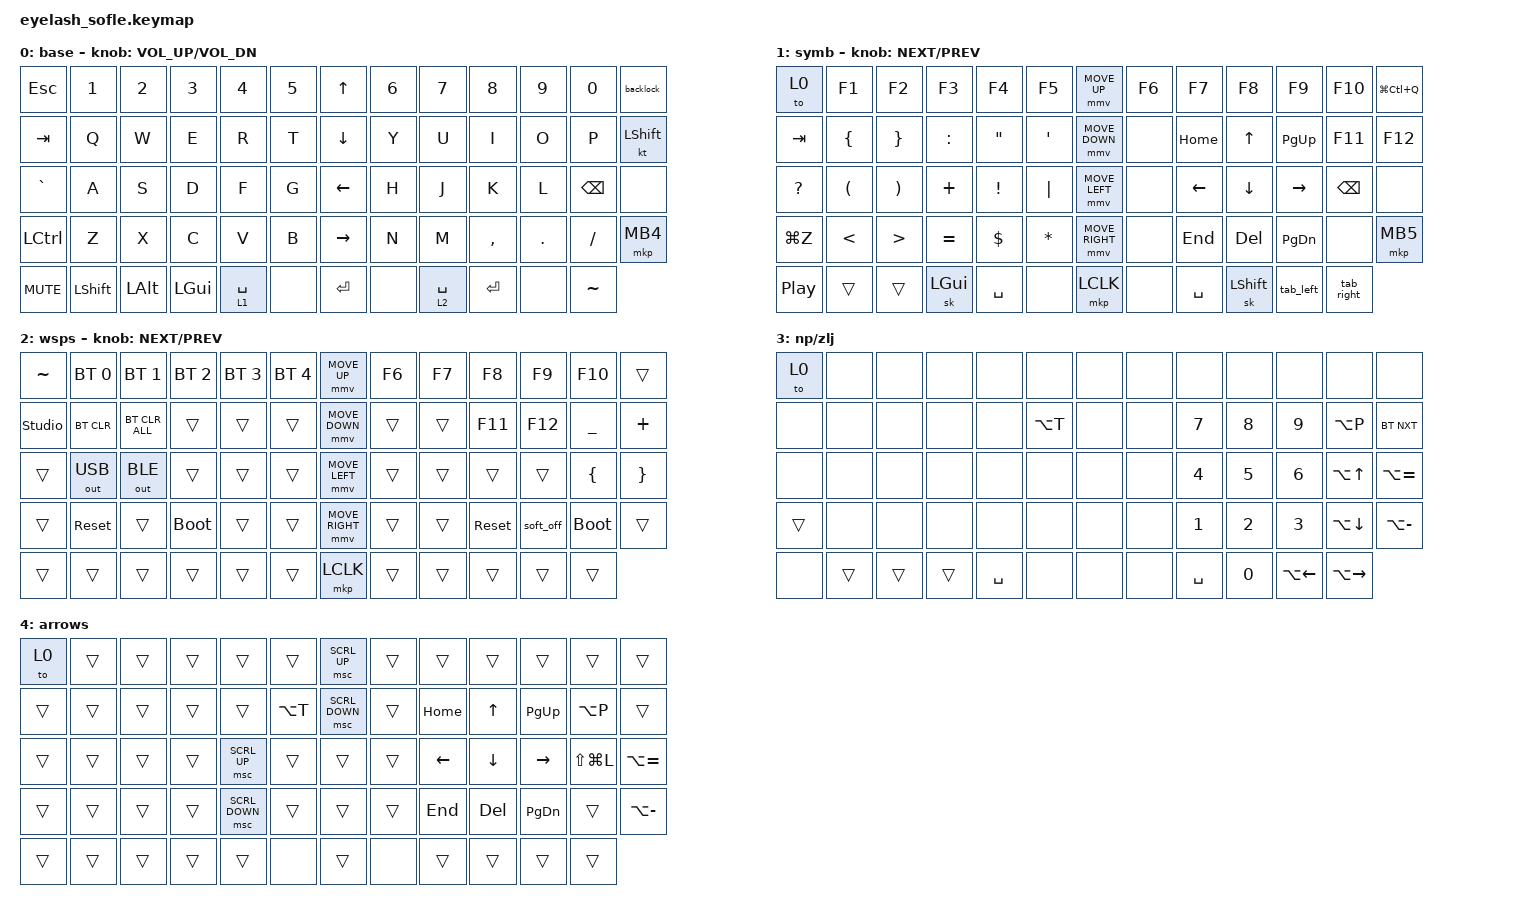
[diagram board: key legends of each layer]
#include <behaviors.dtsi>
#include <dt-bindings/zmk/bt.h>
#include <dt-bindings/zmk/keys.h>
#include <dt-bindings/zmk/rgb.h>

#include <input/processors.dtsi>

/*

   &mmv_input_listener {
       input-processors = <&zip_xy_scaler 2 1>;
   };

   &msc_input_listener {
       input-processors = <&zip_xy_scaler 2 1>;
   };

 */

#define ZMK_MOUSE_DEFAULT_MOVE_VAL 1200  // 600
#define ZMK_MOUSE_DEFAULT_SCRL_VAL 20    // 10


/ {
    behaviors {
        as_ht: autoshift_hold_tap {
            compatible = "zmk,behavior-hold-tap";
            label = "AUTOSHIFT_HOLD_TAP";
            #binding-cells = <2>;
            tapping-term-ms = <450>;
            require-prior-idle-ms = <325>;
            bindings = <&shifted>, <&kp>;

            flavor = "tap-preferred";
        };

        mmv {
            acceleration-exponent = <1>;      // 1
            time-to-max-speed-ms = <900>;    // 40
            delay-ms = <0>;                   // 0
        };

        msc {
            acceleration-exponent = <1>;      // 0
            time-to-max-speed-ms = <400>;      // 500
            delay-ms = <0>;                   //   10
        };

        hm: homerow_mods {
            compatible = "zmk,behavior-hold-tap";
            #binding-cells = <2>;
            tapping-term-ms = <350>;
            quick-tap-ms = <0>;
            flavor = "tap-unless-interrupted";
            bindings = <&kp>, <&kp>;

            label = "homerow_mods";
        };

        td0: tap_dance_0 {
            compatible = "zmk,behavior-tap-dance";
            #binding-cells = <0>;
            tapping-term-ms = <200>;
            bindings = <&none>, <&bt BT_SEL 0>;
        };

        td1: tap_dance_1 {
            compatible = "zmk,behavior-tap-dance";
            #binding-cells = <0>;
            tapping-term-ms = <200>;
            bindings = <&none>, <&bt BT_SEL 1>;
        };

        td2: tap_dance_2 {
            compatible = "zmk,behavior-tap-dance";
            #binding-cells = <0>;
            tapping-term-ms = <200>;
            bindings = <&none>, <&bt BT_SEL 2>;
        };

        td3: tap_dance_3 {
            compatible = "zmk,behavior-tap-dance";
            #binding-cells = <0>;
            tapping-term-ms = <200>;
            bindings = <&none>, <&bt BT_SEL 3>;
        };

        td4: tap_dance_4 {
            compatible = "zmk,behavior-tap-dance";
            #binding-cells = <0>;
            tapping-term-ms = <200>;
            bindings = <&kp RET>, <&bt BT_SEL 4>;
        };

        backlock: backlock {
            compatible = "zmk,behavior-tap-dance";
            label = "BACKLOCK";
            #binding-cells = <0>;
            bindings =
                <&kp BACKSPACE>,
                <&kp BACKSPACE>,
                <&kp LG(LC(Q))>,
                <&none>,
                <&bootloader>;

            tapping-term-ms = <400>;
        };

        gui_raycast: gui_raycast {
            compatible = "zmk,behavior-tap-dance";
            label = "GUI_RAYCAST";
            #binding-cells = <0>;
            bindings = <&kp LEFT_GUI>, <&kp LG(D)>;

            tapping-term-ms = <150>;
        };

        caps_lock_word: caps_lock_word {
            compatible = "zmk,behavior-tap-dance";
            label = "CAPS_LOCK_WORD";
            #binding-cells = <0>;
            bindings = <&kp CAPS>, <&caps_word>;
        };

        bootloader_dance: bootloader_dance {
            compatible = "zmk,behavior-tap-dance";
            label = "BOOTLOADER_DANCE";
            #binding-cells = <0>;
            bindings = <&none>, <&none>, <&bootloader>;
        };
    };

    scroll_encoder: scroll_encoder {
        compatible = "zmk,behavior-sensor-rotate";
        #sensor-binding-cells = <0>;
        bindings = <&msc SCRL_DOWN>, <&msc SCRL_UP>;

        tap-ms = <30>;
    };

    macros {
        arc1: arc1 {
            compatible = "zmk,behavior-macro";
            #binding-cells = <0>;
            bindings =
                <&kp LA(LC(LG(A)))>,
                <&macro_wait_time 200>,
                <&kp LC(NUMBER_1)>;

            label = "ARC1";
        };

        arc2: arc2 {
            compatible = "zmk,behavior-macro";
            #binding-cells = <0>;
            bindings =
                <&kp LA(LC(LG(A)))>,
                <&macro_wait_time 200>,
                <&kp LC(NUMBER_2)>;

            label = "ARC2";
        };

        tab_left: tab_left {
            compatible = "zmk,behavior-macro";
            #binding-cells = <0>;
            bindings = <&kp LC(T)>, <&macro_wait_time 80>, <&kp LEFT_BRACKET>;

            label = "TAB_LEFT";
        };

        tab_right: tab_right {
            compatible = "zmk,behavior-macro";
            #binding-cells = <0>;
            bindings = <&kp LC(T)>, <&macro_wait_time 80>, <&kp RIGHT_BRACKET>;

            label = "TAB_RIGHT";
        };

        unfold: unfold {
            compatible = "zmk,behavior-macro";
            #binding-cells = <0>;
            bindings = <&kp LG(K) &kp LG(LEFT_BRACKET)>;
            label = "UNFOLD";
        };

        fold_all: fold_all {
            compatible = "zmk,behavior-macro";
            #binding-cells = <0>;
            bindings = <&kp LG(K) &kp LG(N0)>;
            label = "FOLD_ALL";
        };

        shifted: macro_shifted_kp {
            #binding-cells = <1>;
            label = "MACRO_SHIFTED_KP";
            compatible = "zmk,behavior-macro-one-param";
            bindings =
                <&macro_press>,
                <&kp LSHFT &macro_param_1to1>,
                <&macro_tap>,
                <&kp MACRO_PLACEHOLDER>,
                <&macro_release>,
                <&kp LSHFT>;
        };

        as: autoshift {
            compatible = "zmk,behavior-macro-one-param";
            #binding-cells = <1>;
            label = "AUTOSHIFT_KP";
            bindings =
                <&macro_press>,
                <&macro_param_1to1 &macro_param_1to2 &as_ht MACRO_PLACEHOLDER MACRO_PLACEHOLDER>,
                <&macro_pause_for_release>,
                <&macro_release>,
                <&macro_param_1to1 &macro_param_1to2 &as_ht MACRO_PLACEHOLDER MACRO_PLACEHOLDER>;
        };

        zz_macro: zz_macro {
            compatible = "zmk,behavior-macro";
            #binding-cells = <0>;
            bindings = <&kp ESCAPE &kp LS(Z) &kp LS(Z)>;
            label = "ZZ_MACRO";
        };

        qexit: qexit {
            compatible = "zmk,behavior-macro";
            #binding-cells = <0>;
            bindings = <&kp ESCAPE &kp Q &kp EXCL &kp RET>;
            label = "QEXIT";
        };
    };

    combos {
        compatible = "zmk,combos";

        bootloader_left {
            bindings = <&bootloader>;
            key-positions = <39 40>;
        };

        tolayer3 {
            bindings = <&mo 3>;
            key-positions = <28 30 29>;
        };

        tolayer4 {
            bindings = <&tog 4>;
            key-positions = <28 30 16>;
        };

        slash {
            bindings = <&kp SLASH>;
            key-positions = <29 17>;
        };

        backslash {
            bindings = <&kp BACKSLASH>;
            key-positions = <16 30>;
        };

        minus {
            bindings = <&kp MINUS>;
            key-positions = <30 29>;
        };

        underscore {
            bindings = <&kp UNDER>;
            key-positions = <43 42>;
        };

        scrollup {
            bindings = <&msc SCRL_UP>;
            timeout-ms = <200>;
            key-positions = <34 18>;
        };

        scrolldown {
            bindings = <&msc SCRL_DOWN>;
            timeout-ms = <200>;
            key-positions = <31 34>;
        };

        tolayer1 {
            bindings = <&to 1>;
            key-positions = <56 57>;
        };

        tolayer2 {
            bindings = <&to 2>;
            key-positions = <60 59>;
        };

        copy {
            bindings = <&kp LG(C)>;
            timeout-ms = <200>;
            key-positions = <34 42>;
        };

        paste {
            bindings = <&kp LG(V)>;
            timeout-ms = <200>;
            key-positions = <34 43>;
        };

        cut {
            bindings = <&kp LG(X)>;
            timeout-ms = <200>;
            key-positions = <34 41>;
        };

        undo {
            bindings = <&kp LG(Z)>;
            timeout-ms = <200>;
            key-positions = <34 40>;
        };

        redo {
            bindings = <&kp LG(LS(Z))>;
            timeout-ms = <200>;
            key-positions = <34 35 40>;
        };

        pipe {
            bindings = <&kp PIPE>;
            key-positions = <44 31>;
        };

        semicolon {
            bindings = <&kp SEMI>;
            key-positions = <31 18>;
        };

        save {
            bindings = <&kp LG(S)>;
            key-positions = <34 28>;
        };

        find {
            bindings = <&kp LG(F)>;
            key-positions = <34 30>;
        };

        findall {
            bindings = <&kp LG(LS(F))>;
            key-positions = <34 30 35>;
        };

        select_all {
            bindings = <&kp LG(LS(L))>;
            key-positions = <34 35 36>;
        };

        foldall_combo {
            bindings = <&fold_all>;
            key-positions = <30 21>;
        };

        unfold_combo {
            bindings = <&unfold>;
            key-positions = <30 22>;
        };

        gui {
            bindings = <&kp LEFT_GUI>;
            key-positions = <47 49>;
        };

        question_mark {
            bindings = <&kp QUESTION>;
            key-positions = <43 29>;
        };

        vscode {
            bindings = <&kp LA(LC(LG(C)))>;
            key-positions = <35 42>;
        };

        slack {
            bindings = <&kp LA(LC(LG(S)))>;
            key-positions = <35 28>;
        };

        arc1 {
            bindings = <&arc1>;
            key-positions = <35 1>;
        };

        arc2 {
            bindings = <&arc2>;
            key-positions = <35 2>;
        };

        arc {
            bindings = <&kp LA(LC(LG(A)))>;
            key-positions = <35 27>;
        };

        rambox {
            bindings = <&kp LA(LC(LG(R)))>;
            key-positions = <35 17>;
        };

        obsidian {
            bindings = <&kp LA(LC(LG(O)))>;
            key-positions = <35 23>;
        };

        bruno {
            bindings = <&kp LA(LC(LG(B)))>;
            key-positions = <35 23>;
        };

        spotify {
            bindings = <&kp LA(LC(LG(M)))>;
            key-positions = <35 47>;
        };

        zz {
            bindings = <&zz_macro>;
            key-positions = <35 40 36>;
        };

        raycast_paste {
            bindings = <&kp LA(LC(LG(V)))>;
            key-positions = <35 43>;
        };

        alt_backspace {
            bindings = <&kp LA(BACKSPACE)>;
            key-positions = <34 37>;
        };

        qexit_macro {
            bindings = <&qexit>;
            key-positions = <35 36 14>;
        };
    };

    keymap {
        compatible = "zmk,keymap";

        layer0 {
            bindings = <
&kp ESC     &kp N1     &kp N2    &kp N3    &kp N4       &kp N5    &kp UP     &kp N6  &kp N7       &kp N8     &kp N9   &kp N0     &backlock
&kp TAB     &kp Q      &kp W     &kp E     &kp R        &kp T     &kp DOWN   &kp Y   &kp U        &kp I      &kp O    &kp P      &kt LSHFT
&kp GRAVE   &kp A      &kp S     &kp D     &kp F        &kp G     &kp LEFT   &kp H   &kp J        &kp K      &kp L    &kp BSPC   &none
&kp LCTRL   &kp Z      &kp X     &kp C     &kp V        &kp B     &kp RIGHT  &kp N   &kp M        &kp COMMA  &kp DOT  &kp SLASH  &mkp MB4
&kp C_MUTE  &kp LSHFT  &kp LALT  &kp LGUI  &lt 1 SPACE  &none     &kp RET    &none   &lt 2 SPACE  &kp RET    &none    &kp TILDE
            >;

            sensor-bindings = <&inc_dec_kp C_VOLUME_UP C_VOL_DN>;
            display-name = "base";
        };

        layer_1 {
            bindings = <
&to 0         &kp F1          &kp F2        &kp F3        &kp F4      &kp F5       &mmv MOVE_UP     &kp F6  &kp F7     &kp F8          &kp F9     &kp F10     &kp LG(LC(Q))
&kp TAB       &kp LBRC        &kp RBRC      &kp COLON     &kp DQT     &kp SQT      &mmv MOVE_DOWN   &none   &kp HOME   &kp UP          &kp PG_UP  &kp F11     &kp F12
&kp QUESTION  &kp LPAR        &kp RPAR      &kp PLUS      &kp EXCL    &kp PIPE     &mmv MOVE_LEFT   &none   &kp LEFT   &kp DOWN        &kp RIGHT  &kp BSPC    &none
&kp LG(Z)     &kp LT          &kp GT        &kp EQUAL     &kp DOLLAR  &kp ASTRK    &mmv MOVE_RIGHT  &none   &kp END    &kp DEL         &kp PG_DN  &none       &mkp MB5
&kp C_PP      &trans          &trans        &sk LEFT_GUI  &kp SPACE   &none        &mkp LCLK        &none   &kp SPACE  &sk LEFT_SHIFT  &tab_left  &tab_right
            >;

            display-name = "symb";
            sensor-bindings = <&inc_dec_kp C_NEXT C_PREV>;
        };

        layer_2 {
            bindings = <
&kp TILDE  &bt BT_SEL 0  &bt BT_SEL 1    &bt BT_SEL 2  &bt BT_SEL 3  &bt BT_SEL 4    &mmv MOVE_UP     &kp F6  &kp F7  &kp F8      &kp F9     &kp F10      &trans
&studio_unlock      &bt BT_CLR    &bt BT_CLR_ALL  &trans        &trans        &trans          &mmv MOVE_DOWN   &trans  &trans  &kp F11     &kp F12    &kp UNDER    &kp PLUS
&trans     &out OUT_USB  &out OUT_BLE    &trans        &trans        &trans          &mmv MOVE_LEFT   &trans  &trans  &trans      &trans     &kp LBRC     &kp RBRC
&trans     &sys_reset    &trans          &bootloader   &trans        &trans          &mmv MOVE_RIGHT  &trans  &trans  &sys_reset  &soft_off  &bootloader  &trans
&trans     &trans        &trans          &trans        &trans        &trans          &mkp LCLK        &trans  &trans  &trans      &trans     &trans
            >;

            display-name = "wsps";
            sensor-bindings = <&inc_dec_kp C_NEXT C_PREV>;
        };

        np_zlj {
            bindings = <
&to 0   &none   &none   &none   &none      &none        &none  &none  &none      &none   &none         &none          &none
&none   &none   &none   &none   &none      &kp LA(T)    &none  &none  &kp N7     &kp N8  &kp N9        &kp LA(P)      &bt BT_NXT
&none   &none   &none   &none   &none      &none        &none  &none  &kp N4     &kp N5  &kp N6        &kp LA(UP)     &kp LA(EQUAL)
&trans  &none   &none   &none   &none      &none        &none  &none  &kp N1     &kp N2  &kp N3        &kp LA(DOWN)   &kp LA(MINUS)
&none   &trans  &trans  &trans  &kp SPACE  &none        &none  &none  &kp SPACE  &kp N0  &kp LA(LEFT)  &kp LA(RIGHT)
            >;

            label = "np/zlj";
        };

        layer_4 {
            bindings = <
&to 0   &trans  &trans  &trans  &trans          &trans       &msc SCRL_UP    &trans  &trans    &trans          &trans           &trans         &trans
&trans  &trans  &trans  &trans  &trans          &kp LA(T)    &msc SCRL_DOWN  &trans  &kp HOME  &kp UP_ARROW    &kp PG_UP        &kp LA(P)      &trans
&trans  &trans  &trans  &trans  &msc SCRL_UP    &trans       &trans          &trans  &kp LEFT  &kp DOWN_ARROW  &kp RIGHT_ARROW  &kp LS(LG(L))  &kp LA(EQUAL)
&trans  &trans  &trans  &trans  &msc SCRL_DOWN  &trans       &trans          &trans  &kp END   &kp DEL         &kp PAGE_DOWN    &trans         &kp LA(MINUS)
&trans  &trans  &trans  &trans  &trans          &none        &trans          &none   &trans    &trans          &trans           &trans
            >;

            label = "arrows";
        };
    };
};
